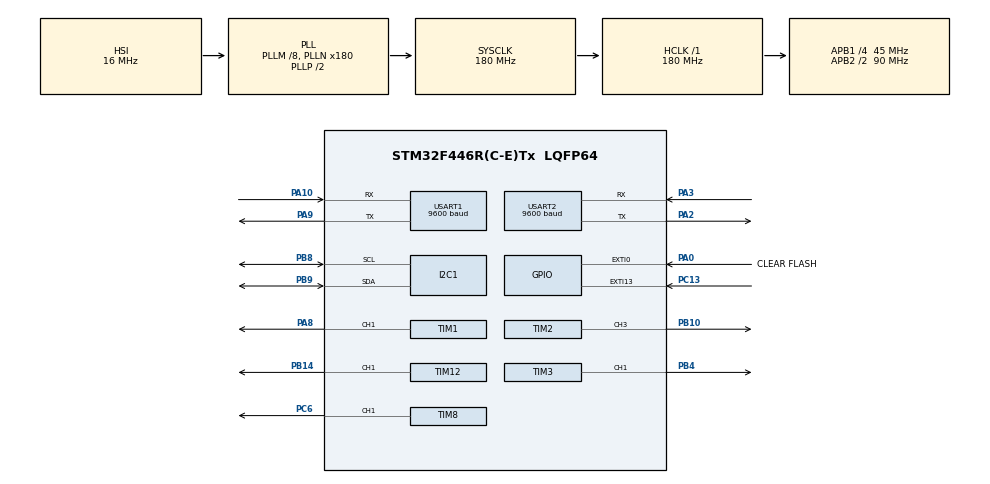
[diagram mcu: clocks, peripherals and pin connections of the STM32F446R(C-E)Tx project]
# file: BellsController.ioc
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Mcu.Family=STM32F4
Mcu.Name=STM32F446R(C-E)Tx
Mcu.Package=LQFP64
NVIC.EXTI0_IRQn=true\:0\:0\:false\:false\:true\:true\:true\:true
NVIC.EXTI15_10_IRQn=true\:1\:0\:true\:false\:true\:true\:true\:true
NVIC.PriorityGroup=NVIC_PRIORITYGROUP_4
NVIC.RTC_Alarm_IRQn=true\:0\:0\:false\:false\:true\:true\:true\:true
PA0-WKUP.GPIO_Label=CLEAR FLASH
PA0-WKUP.GPIO_ModeDefaultEXTI=GPIO_MODE_IT_RISING
PA0-WKUP.Signal=GPXTI0
PA10.Mode=Asynchronous
PA10.Signal=USART1_RX
PA2.Mode=Asynchronous
PA2.Signal=USART2_TX
PA3.Mode=Asynchronous
PA3.Signal=USART2_RX
PA8.Signal=S_TIM1_CH1
PA9.Mode=Asynchronous
PA9.Signal=USART1_TX
PB10.Signal=S_TIM2_CH3
PB14.Signal=S_TIM12_CH1
PB4.Signal=S_TIM3_CH1
PB8.Mode=I2C
PB8.Signal=I2C1_SCL
PB9.Mode=I2C
PB9.Signal=I2C1_SDA
PC13.GPIO_ModeDefaultEXTI=GPIO_MODE_IT_RISING
PC13.Signal=GPXTI13
PC6.Signal=S_TIM8_CH1
ProjectManager.HeapSize=0x200
ProjectManager.StackSize=0x400
ProjectManager.TargetToolchain=STM32CubeIDE
RCC.AHBFreq_Value=180000000
RCC.APB1CLKDivider=RCC_HCLK_DIV4
RCC.APB1Freq_Value=45000000
RCC.APB1TimFreq_Value=90000000
RCC.APB2CLKDivider=RCC_HCLK_DIV2
RCC.APB2Freq_Value=90000000
RCC.APB2TimFreq_Value=180000000
RCC.CortexFreq_Value=180000000
RCC.HCLKFreq_Value=180000000
RCC.PLLM=8
RCC.PLLN=180
RCC.SYSCLKFreq_VALUE=180000000
RCC.SYSCLKSource=RCC_SYSCLKSOURCE_PLLCLK
RCC.USBFreq_Value=180000000
RCC.VCOOutputFreq_Value=360000000
RTC.Alarm=RTC_ALARM_A
RTC.AlarmMaskDateWeekDay=RTC_ALARMMASK_DATEWEEKDAY
RTC.AlarmMaskHours=RTC_ALARMMASK_HOURS
RTC.AlarmMaskMinutes=RTC_ALARMMASK_MINUTES
RTC.Format=RTC_FORMAT_BIN
RTC.Year=1
SH.S_TIM12_CH1.0=TIM12_CH1,PWM Generation1 CH1
SH.S_TIM1_CH1.0=TIM1_CH1,PWM Generation1 CH1
SH.S_TIM2_CH3.0=TIM2_CH3,PWM Generation3 CH3
SH.S_TIM3_CH1.0=TIM3_CH1,PWM Generation1 CH1
SH.S_TIM8_CH1.0=TIM8_CH1,PWM Generation1 CH1
TIM1.Channel-PWM\ Generation1\ CH1=TIM_CHANNEL_1
TIM1.Period=3822-1
TIM1.Prescaler=180-1
TIM1.Pulse-PWM\ Generation1\ CH1=3822/2
TIM12.Channel-PWM\ Generation1\ CH1=TIM_CHANNEL_1
TIM12.Period=2551-1
TIM12.Prescaler=90-1
TIM12.Pulse-PWM\ Generation1\ CH1=2551/2
TIM2.Channel-PWM\ Generation3\ CH3=TIM_CHANNEL_3
TIM2.Period=3406-1
TIM2.Prescaler=90-1
TIM2.Pulse-PWM\ Generation3\ CH3=3406/2
TIM3.Channel-PWM\ Generation1\ CH1=TIM_CHANNEL_1
TIM3.Period=3030-1
TIM3.Prescaler=90-1
TIM3.Pulse-PWM\ Generation1\ CH1=3030/2
TIM8.Channel-PWM\ Generation1\ CH1=TIM_CHANNEL_1
TIM8.Period=2865-1
TIM8.Prescaler=180-1
TIM8.Pulse-PWM\ Generation1\ CH1=2865/2
USART1.BaudRate=9600
USART1.VirtualMode=VM_ASYNC
USART2.BaudRate=9600
USART2.VirtualMode=VM_ASYNC
VP_RTC_VS_RTC_Activate.Mode=RTC_Enabled
VP_RTC_VS_RTC_Alarm_A_Intern.Mode=Alarm A
VP_RTC_VS_RTC_Calendar.Mode=RTC_Calendar
VP_TIM12_VS_ClockSourceINT.Mode=Internal
VP_TIM1_VS_ClockSourceINT.Mode=Internal
VP_TIM2_VS_ClockSourceINT.Mode=Internal
VP_TIM3_VS_ClockSourceINT.Mode=Internal
VP_TIM8_VS_ClockSourceINT.Mode=Internal
board=custom

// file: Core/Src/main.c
/* USER CODE BEGIN Header */
/**
  ******************************************************************************
  * @file           : main.c
  * @brief          : Main program body
  ******************************************************************************
  * @attention
  *
  * Copyright (c) 2024 STMicroelectronics.
  * All rights reserved.
  *
  * This software is licensed under terms that can be found in the LICENSE file
  * in the root directory of this software component.
  * If no LICENSE file comes with this software, it is provided AS-IS.
  *
  ******************************************************************************
  */
/* USER CODE END Header */
#include "main.h"

/* USER CODE BEGIN Includes */
#include <stdio.h>
#include "string.h"
#include "cJSON.h"
#include <stdbool.h>
#include <stdlib.h>
#include "liquidcrystal_i2c.h"
#include "FLASH_SECTOR_F4.h"
#include <math.h>
/* USER CODE END Includes */

/* USER CODE BEGIN PD */
#define BUFFER_SIZE 1024
#define MAX_EVENTS 100
#define MAX_STRING_SIZE 100

// Defining note frequency //

// Concert in C (DO)
#define NOTE_C4  261.6
#define NOTE_D4  293.6
#define NOTE_E4  330
#define NOTE_F4  349
#define NOTE_G4  392

// Melody save addresses
#define MemoryStartAddress  0x08020000 	// 128 Kb sector
#define MelodySize 2048
#define MelodyLineSize 28 // 28 byte (28 indirizzi), 7 parole
#define NumberMelodiesMemoryAddress 0x08010000	// 64 Kb sector

// System Info addresses
#define SystemInfoAddress	0x08040000	// 16 Kb sector

// Time
#define StartYear 2000

/* USER CODE END PD */

I2C_HandleTypeDef hi2c1;

RTC_HandleTypeDef hrtc;

TIM_HandleTypeDef htim1;
TIM_HandleTypeDef htim2;
TIM_HandleTypeDef htim3;
TIM_HandleTypeDef htim8;
TIM_HandleTypeDef htim12;

UART_HandleTypeDef huart1;
UART_HandleTypeDef huart2;

/* USER CODE BEGIN PV */
char buf[BUFFER_SIZE];
char uart1_rx_buffer[257] = {'0'};
char uart1_rx_char;
int rx_index = 0;
RTC_TimeTypeDef CurrentTime = {0};
RTC_DateTypeDef CurrentDate = {0};

typedef struct {
    char melodyName[MAX_STRING_SIZE];
    int melodyNumber;
    char time[MAX_STRING_SIZE];
} Event;

Event events[MAX_EVENTS];
int eventCount = 0;

int eventsDone = 0;

bool buttonPressed = false;

/* USER CODE END PV */

void SystemClock_Config(void);
static void MX_GPIO_Init(void);
static void MX_USART2_UART_Init(void);
static void MX_USART1_UART_Init(void);
static void MX_RTC_Init(void);
static void MX_I2C1_Init(void);
static void MX_TIM1_Init(void);
static void MX_TIM2_Init(void);
static void MX_TIM3_Init(void);
static void MX_TIM8_Init(void);
static void MX_TIM12_Init(void);

int main(void)
{

  /* MCU Configuration--------------------------------------------------------*/

  /* Reset of all peripherals, Initializes the Flash interface and the Systick. */
  HAL_Init();

  /* USER CODE BEGIN Init */
  HAL_InitTick(0);
  /* USER CODE END Init */

  /* Configure the system clock */
  SystemClock_Config();

  /* Initialize all configured peripherals */
  MX_GPIO_Init();
  MX_USART2_UART_Init();
  MX_USART1_UART_Init();
  MX_RTC_Init();
  MX_I2C1_Init();
  MX_TIM1_Init();
  MX_TIM2_Init();
  MX_TIM3_Init();
  MX_TIM8_Init();
  MX_TIM12_Init();
  /* USER CODE BEGIN 2 */

  // EraseFlashSector(MemoryStartAddress);
  // EraseFlashSector(NumberMelodiesMemoryAddress);
  // EraseFlashSector(SystemInfoAddress);

  HD44780_Init(2);
  HD44780_Clear();
  HD44780_SetCursor(0,0);
  HD44780_PrintStr("Sync and start");
  HAL_Delay(5000);
  HD44780_Clear();
  HD44780_SetCursor(0,0);
  HD44780_PrintStr("Press button");
  HD44780_SetCursor(0,1);
  HD44780_PrintStr("to sync melodies");
  while (!buttonPressed) {
	  HAL_Delay(10); // Avoid too fast loop
  }
  //readAndRing(1);

  /* USER CODE END 2 */

  /* Infinite loop */
  /* USER CODE BEGIN WHILE */
  while (1)
  {
	  // Send "Hello world" message

	  // Delay for 1000 milliseconds (1 second)
	  // HAL_Delay(1000);

	  if (HAL_UART_Receive(&huart1, &uart1_rx_char, 1, 100) == HAL_OK){
	  	         uart1_rx_buffer[rx_index++] = uart1_rx_char;
	  	         if (uart1_rx_char == '\n' || rx_index >= sizeof(uart1_rx_buffer))
	  	         {
	  	        	uart1_rx_buffer[rx_index - 1] = '\0';
	  	        	send_uart_message(uart1_rx_buffer);
	  	        	if (strcmp(uart1_rx_buffer, "-E-\r") == 0) {
	  	        		memset(uart1_rx_buffer, 0, sizeof(uart1_rx_buffer));
	  	        		send_uart_message("Starting the event parsing");
	  	        		rx_index = 0;
	  	        	    parseEvents();
	  	        	}
	  	        	else if (strcmp(uart1_rx_buffer, "-M-\r") == 0){
	  	        		memset(uart1_rx_buffer, 0, sizeof(uart1_rx_buffer));
	  	        		rx_index = 0;
	  	        		send_uart_message("Starting the melodies parsing");
	  	        		__disable_irq();
	  	        		parseMelodies();
	  	        		send_uart_message("Returned to main");
	  	        		__enable_irq();
	  	        	}
	  	        	else if (strcmp((char *)uart1_rx_buffer, "-T-\r") == 0){
	  	        		memset(uart1_rx_buffer, 0, sizeof(uart1_rx_buffer));
	  	        		rx_index = 0;
	  	        		send_uart_message("Starting the time parsing");
	  	        		parseTime();
	  	        	}
	  	        	else if (strcmp((char *)uart1_rx_buffer, "-S-\r") == 0){
	  	        		memset(uart1_rx_buffer, 0, sizeof(uart1_rx_buffer));
	  	        		rx_index = 0;
	  	        		send_uart_message("Starting the system info parsing");
	  	        		parseSystem();
	  	        	}
	  	        	else {
	  	        		send_uart_message("What else?");
	  	        		memset(uart1_rx_buffer, 0, sizeof(uart1_rx_buffer));
	  	        		rx_index = 0;
	  	        	}
	  	         }
	  	     }
    /* USER CODE END WHILE */

  }
}

void SystemClock_Config(void)
{
  RCC_OscInitTypeDef RCC_OscInitStruct = {0};
  RCC_ClkInitTypeDef RCC_ClkInitStruct = {0};

  /** Configure the main internal regulator output voltage
  */
  __HAL_RCC_PWR_CLK_ENABLE();
  __HAL_PWR_VOLTAGESCALING_CONFIG(PWR_REGULATOR_VOLTAGE_SCALE1);

  /** Initializes the RCC Oscillators according to the specified parameters
  * in the RCC_OscInitTypeDef structure.
  */
  RCC_OscInitStruct.OscillatorType = RCC_OSCILLATORTYPE_HSI|RCC_OSCILLATORTYPE_LSI;
  RCC_OscInitStruct.LSEState = RCC_LSE_OFF;
  RCC_OscInitStruct.HSIState = RCC_HSI_ON;
  RCC_OscInitStruct.HSICalibrationValue = RCC_HSICALIBRATION_DEFAULT;
  RCC_OscInitStruct.LSIState = RCC_LSI_ON;
  RCC_OscInitStruct.PLL.PLLState = RCC_PLL_ON;
  RCC_OscInitStruct.PLL.PLLSource = RCC_PLLSOURCE_HSI;
  RCC_OscInitStruct.PLL.PLLM = 8;
  RCC_OscInitStruct.PLL.PLLN = 180;
  RCC_OscInitStruct.PLL.PLLP = RCC_PLLP_DIV2;
  RCC_OscInitStruct.PLL.PLLQ = 2;
  RCC_OscInitStruct.PLL.PLLR = 2;
  if (HAL_RCC_OscConfig(&RCC_OscInitStruct) != HAL_OK)
  {
    Error_Handler();
  }

  /** Activate the Over-Drive mode
  */
  if (HAL_PWREx_EnableOverDrive() != HAL_OK)
  {
    Error_Handler();
  }

  /** Initializes the CPU, AHB and APB buses clocks
  */
  RCC_ClkInitStruct.ClockType = RCC_CLOCKTYPE_HCLK|RCC_CLOCKTYPE_SYSCLK
                              |RCC_CLOCKTYPE_PCLK1|RCC_CLOCKTYPE_PCLK2;
  RCC_ClkInitStruct.SYSCLKSource = RCC_SYSCLKSOURCE_PLLCLK;
  RCC_ClkInitStruct.AHBCLKDivider = RCC_SYSCLK_DIV1;
  RCC_ClkInitStruct.APB1CLKDivider = RCC_HCLK_DIV4;
  RCC_ClkInitStruct.APB2CLKDivider = RCC_HCLK_DIV2;

  if (HAL_RCC_ClockConfig(&RCC_ClkInitStruct, FLASH_LATENCY_5) != HAL_OK)
  {
    Error_Handler();
  }
}

static void MX_I2C1_Init(void)
{

  hi2c1.Instance = I2C1;
  hi2c1.Init.ClockSpeed = 100000;
  hi2c1.Init.DutyCycle = I2C_DUTYCYCLE_2;
  hi2c1.Init.OwnAddress1 = 0;
  hi2c1.Init.AddressingMode = I2C_ADDRESSINGMODE_7BIT;
  hi2c1.Init.DualAddressMode = I2C_DUALADDRESS_DISABLE;
  hi2c1.Init.OwnAddress2 = 0;
  hi2c1.Init.GeneralCallMode = I2C_GENERALCALL_DISABLE;
  hi2c1.Init.NoStretchMode = I2C_NOSTRETCH_DISABLE;
  if (HAL_I2C_Init(&hi2c1) != HAL_OK)
  {
    Error_Handler();
  }

}

static void MX_RTC_Init(void)
{

  RTC_TimeTypeDef sTime = {0};
  RTC_DateTypeDef sDate = {0};
  RTC_AlarmTypeDef sAlarm = {0};

  /** Initialize RTC Only
  */
  hrtc.Instance = RTC;
  hrtc.Init.HourFormat = RTC_HOURFORMAT_24;
  hrtc.Init.AsynchPrediv = 127;
  hrtc.Init.SynchPrediv = 255;
  hrtc.Init.OutPut = RTC_OUTPUT_DISABLE;
  hrtc.Init.OutPutPolarity = RTC_OUTPUT_POLARITY_HIGH;
  hrtc.Init.OutPutType = RTC_OUTPUT_TYPE_OPENDRAIN;
  if (HAL_RTC_Init(&hrtc) != HAL_OK)
  {
    Error_Handler();
  }

  /** Initialize RTC and set the Time and Date
  */
  sTime.Hours = 0;
  sTime.Minutes = 0;
  sTime.Seconds = 0;
  sTime.DayLightSaving = RTC_DAYLIGHTSAVING_NONE;
  sTime.StoreOperation = RTC_STOREOPERATION_RESET;
  if (HAL_RTC_SetTime(&hrtc, &sTime, RTC_FORMAT_BIN) != HAL_OK)
  {
    Error_Handler();
  }
  sDate.WeekDay = RTC_WEEKDAY_MONDAY;
  sDate.Month = RTC_MONTH_JANUARY;
  sDate.Date = 1;
  sDate.Year = 1;

  if (HAL_RTC_SetDate(&hrtc, &sDate, RTC_FORMAT_BIN) != HAL_OK)
  {
    Error_Handler();
  }

  /** Enable the Alarm A
  */
  sAlarm.AlarmTime.Hours = 0;
  sAlarm.AlarmTime.Minutes = 0;
  sAlarm.AlarmTime.Seconds = 0;
  sAlarm.AlarmTime.SubSeconds = 0;
  sAlarm.AlarmTime.DayLightSaving = RTC_DAYLIGHTSAVING_NONE;
  sAlarm.AlarmTime.StoreOperation = RTC_STOREOPERATION_RESET;
  sAlarm.AlarmMask = RTC_ALARMMASK_DATEWEEKDAY|RTC_ALARMMASK_HOURS
                              |RTC_ALARMMASK_MINUTES;
  sAlarm.AlarmSubSecondMask = RTC_ALARMSUBSECONDMASK_ALL;
  sAlarm.AlarmDateWeekDaySel = RTC_ALARMDATEWEEKDAYSEL_DATE;
  sAlarm.AlarmDateWeekDay = 1;
  sAlarm.Alarm = RTC_ALARM_A;
  if (HAL_RTC_SetAlarm_IT(&hrtc, &sAlarm, RTC_FORMAT_BIN) != HAL_OK)
  {
    Error_Handler();
  }
  /* USER CODE BEGIN RTC_Init 2 */
  HAL_NVIC_SetPriority(RTC_Alarm_IRQn,1,0);
  /* USER CODE END RTC_Init 2 */

}

static void MX_TIM1_Init(void)
{

  TIM_ClockConfigTypeDef sClockSourceConfig = {0};
  TIM_MasterConfigTypeDef sMasterConfig = {0};
  TIM_OC_InitTypeDef sConfigOC = {0};
  TIM_BreakDeadTimeConfigTypeDef sBreakDeadTimeConfig = {0};

  htim1.Instance = TIM1;
  htim1.Init.Prescaler = 180-1;
  htim1.Init.CounterMode = TIM_COUNTERMODE_UP;
  htim1.Init.Period = 3822-1;
  htim1.Init.ClockDivision = TIM_CLOCKDIVISION_DIV1;
  htim1.Init.RepetitionCounter = 0;
  htim1.Init.AutoReloadPreload = TIM_AUTORELOAD_PRELOAD_DISABLE;
  if (HAL_TIM_Base_Init(&htim1) != HAL_OK)
  {
    Error_Handler();
  }
  sClockSourceConfig.ClockSource = TIM_CLOCKSOURCE_INTERNAL;
  if (HAL_TIM_ConfigClockSource(&htim1, &sClockSourceConfig) != HAL_OK)
  {
    Error_Handler();
  }
  if (HAL_TIM_PWM_Init(&htim1) != HAL_OK)
  {
    Error_Handler();
  }
  sMasterConfig.MasterOutputTrigger = TIM_TRGO_RESET;
  sMasterConfig.MasterSlaveMode = TIM_MASTERSLAVEMODE_DISABLE;
  if (HAL_TIMEx_MasterConfigSynchronization(&htim1, &sMasterConfig) != HAL_OK)
  {
    Error_Handler();
  }
  sConfigOC.OCMode = TIM_OCMODE_PWM1;
  sConfigOC.Pulse = 3822/2;
  sConfigOC.OCPolarity = TIM_OCPOLARITY_HIGH;
  sConfigOC.OCNPolarity = TIM_OCNPOLARITY_HIGH;
  sConfigOC.OCFastMode = TIM_OCFAST_DISABLE;
  sConfigOC.OCIdleState = TIM_OCIDLESTATE_RESET;
  sConfigOC.OCNIdleState = TIM_OCNIDLESTATE_RESET;
  if (HAL_TIM_PWM_ConfigChannel(&htim1, &sConfigOC, TIM_CHANNEL_1) != HAL_OK)
  {
    Error_Handler();
  }
  sBreakDeadTimeConfig.OffStateRunMode = TIM_OSSR_DISABLE;
  sBreakDeadTimeConfig.OffStateIDLEMode = TIM_OSSI_DISABLE;
  sBreakDeadTimeConfig.LockLevel = TIM_LOCKLEVEL_OFF;
  sBreakDeadTimeConfig.DeadTime = 0;
  sBreakDeadTimeConfig.BreakState = TIM_BREAK_DISABLE;
  sBreakDeadTimeConfig.BreakPolarity = TIM_BREAKPOLARITY_HIGH;
  sBreakDeadTimeConfig.AutomaticOutput = TIM_AUTOMATICOUTPUT_DISABLE;
  if (HAL_TIMEx_ConfigBreakDeadTime(&htim1, &sBreakDeadTimeConfig) != HAL_OK)
  {
    Error_Handler();
  }
  HAL_TIM_MspPostInit(&htim1);

}

static void MX_TIM2_Init(void)
{

  TIM_ClockConfigTypeDef sClockSourceConfig = {0};
  TIM_MasterConfigTypeDef sMasterConfig = {0};
  TIM_OC_InitTypeDef sConfigOC = {0};

  htim2.Instance = TIM2;
  htim2.Init.Prescaler = 90-1;
  htim2.Init.CounterMode = TIM_COUNTERMODE_UP;
  htim2.Init.Period = 3406-1;
  htim2.Init.ClockDivision = TIM_CLOCKDIVISION_DIV1;
  htim2.Init.AutoReloadPreload = TIM_AUTORELOAD_PRELOAD_DISABLE;
  if (HAL_TIM_Base_Init(&htim2) != HAL_OK)
  {
    Error_Handler();
  }
  sClockSourceConfig.ClockSource = TIM_CLOCKSOURCE_INTERNAL;
  if (HAL_TIM_ConfigClockSource(&htim2, &sClockSourceConfig) != HAL_OK)
  {
    Error_Handler();
  }
  if (HAL_TIM_PWM_Init(&htim2) != HAL_OK)
  {
    Error_Handler();
  }
  sMasterConfig.MasterOutputTrigger = TIM_TRGO_RESET;
  sMasterConfig.MasterSlaveMode = TIM_MASTERSLAVEMODE_DISABLE;
  if (HAL_TIMEx_MasterConfigSynchronization(&htim2, &sMasterConfig) != HAL_OK)
  {
    Error_Handler();
  }
  sConfigOC.OCMode = TIM_OCMODE_PWM1;
  sConfigOC.Pulse = 3406/2;
  sConfigOC.OCPolarity = TIM_OCPOLARITY_HIGH;
  sConfigOC.OCFastMode = TIM_OCFAST_DISABLE;
  if (HAL_TIM_PWM_ConfigChannel(&htim2, &sConfigOC, TIM_CHANNEL_3) != HAL_OK)
  {
    Error_Handler();
  }
  HAL_TIM_MspPostInit(&htim2);

}

static void MX_TIM3_Init(void)
{

  TIM_ClockConfigTypeDef sClockSourceConfig = {0};
  TIM_MasterConfigTypeDef sMasterConfig = {0};
  TIM_OC_InitTypeDef sConfigOC = {0};

  htim3.Instance = TIM3;
  htim3.Init.Prescaler = 90-1;
  htim3.Init.CounterMode = TIM_COUNTERMODE_UP;
  htim3.Init.Period = 3030-1;
  htim3.Init.ClockDivision = TIM_CLOCKDIVISION_DIV1;
  htim3.Init.AutoReloadPreload = TIM_AUTORELOAD_PRELOAD_DISABLE;
  if (HAL_TIM_Base_Init(&htim3) != HAL_OK)
  {
    Error_Handler();
  }
  sClockSourceConfig.ClockSource = TIM_CLOCKSOURCE_INTERNAL;
  if (HAL_TIM_ConfigClockSource(&htim3, &sClockSourceConfig) != HAL_OK)
  {
    Error_Handler();
  }
  if (HAL_TIM_PWM_Init(&htim3) != HAL_OK)
  {
    Error_Handler();
  }
  sMasterConfig.MasterOutputTrigger = TIM_TRGO_RESET;
  sMasterConfig.MasterSlaveMode = TIM_MASTERSLAVEMODE_DISABLE;
  if (HAL_TIMEx_MasterConfigSynchronization(&htim3, &sMasterConfig) != HAL_OK)
  {
    Error_Handler();
  }
  sConfigOC.OCMode = TIM_OCMODE_PWM1;
  sConfigOC.Pulse = 3030/2;
  sConfigOC.OCPolarity = TIM_OCPOLARITY_HIGH;
  sConfigOC.OCFastMode = TIM_OCFAST_DISABLE;
  if (HAL_TIM_PWM_ConfigChannel(&htim3, &sConfigOC, TIM_CHANNEL_1) != HAL_OK)
  {
    Error_Handler();
  }
  HAL_TIM_MspPostInit(&htim3);

}

static void MX_TIM8_Init(void)
{

  TIM_ClockConfigTypeDef sClockSourceConfig = {0};
  TIM_MasterConfigTypeDef sMasterConfig = {0};
  TIM_OC_InitTypeDef sConfigOC = {0};
  TIM_BreakDeadTimeConfigTypeDef sBreakDeadTimeConfig = {0};

  htim8.Instance = TIM8;
  htim8.Init.Prescaler = 180-1;
  htim8.Init.CounterMode = TIM_COUNTERMODE_UP;
  htim8.Init.Period = 2865-1;
  htim8.Init.ClockDivision = TIM_CLOCKDIVISION_DIV1;
  htim8.Init.RepetitionCounter = 0;
  htim8.Init.AutoReloadPreload = TIM_AUTORELOAD_PRELOAD_DISABLE;
  if (HAL_TIM_Base_Init(&htim8) != HAL_OK)
  {
    Error_Handler();
  }
  sClockSourceConfig.ClockSource = TIM_CLOCKSOURCE_INTERNAL;
  if (HAL_TIM_ConfigClockSource(&htim8, &sClockSourceConfig) != HAL_OK)
  {
    Error_Handler();
  }
  if (HAL_TIM_PWM_Init(&htim8) != HAL_OK)
  {
    Error_Handler();
  }
  sMasterConfig.MasterOutputTrigger = TIM_TRGO_RESET;
  sMasterConfig.MasterSlaveMode = TIM_MASTERSLAVEMODE_DISABLE;
  if (HAL_TIMEx_MasterConfigSynchronization(&htim8, &sMasterConfig) != HAL_OK)
  {
    Error_Handler();
  }
  sConfigOC.OCMode = TIM_OCMODE_PWM1;
  sConfigOC.Pulse = 2865/2;
  sConfigOC.OCPolarity = TIM_OCPOLARITY_HIGH;
  sConfigOC.OCNPolarity = TIM_OCNPOLARITY_HIGH;
  sConfigOC.OCFastMode = TIM_OCFAST_DISABLE;
  sConfigOC.OCIdleState = TIM_OCIDLESTATE_RESET;
  sConfigOC.OCNIdleState = TIM_OCNIDLESTATE_RESET;
  if (HAL_TIM_PWM_ConfigChannel(&htim8, &sConfigOC, TIM_CHANNEL_1) != HAL_OK)
  {
    Error_Handler();
  }
  sBreakDeadTimeConfig.OffStateRunMode = TIM_OSSR_DISABLE;
  sBreakDeadTimeConfig.OffStateIDLEMode = TIM_OSSI_DISABLE;
  sBreakDeadTimeConfig.LockLevel = TIM_LOCKLEVEL_OFF;
  sBreakDeadTimeConfig.DeadTime = 0;
  sBreakDeadTimeConfig.BreakState = TIM_BREAK_DISABLE;
  sBreakDeadTimeConfig.BreakPolarity = TIM_BREAKPOLARITY_HIGH;
  sBreakDeadTimeConfig.AutomaticOutput = TIM_AUTOMATICOUTPUT_DISABLE;
  if (HAL_TIMEx_ConfigBreakDeadTime(&htim8, &sBreakDeadTimeConfig) != HAL_OK)
  {
    Error_Handler();
  }
  HAL_TIM_MspPostInit(&htim8);

}

static void MX_TIM12_Init(void)
{

  TIM_ClockConfigTypeDef sClockSourceConfig = {0};
  TIM_OC_InitTypeDef sConfigOC = {0};

  htim12.Instance = TIM12;
  htim12.Init.Prescaler = 90-1;
  htim12.Init.CounterMode = TIM_COUNTERMODE_UP;
  htim12.Init.Period = 2551-1;
  htim12.Init.ClockDivision = TIM_CLOCKDIVISION_DIV1;
  htim12.Init.AutoReloadPreload = TIM_AUTORELOAD_PRELOAD_DISABLE;
  if (HAL_TIM_Base_Init(&htim12) != HAL_OK)
  {
    Error_Handler();
  }
  sClockSourceConfig.ClockSource = TIM_CLOCKSOURCE_INTERNAL;
  if (HAL_TIM_ConfigClockSource(&htim12, &sClockSourceConfig) != HAL_OK)
  {
    Error_Handler();
  }
  if (HAL_TIM_PWM_Init(&htim12) != HAL_OK)
  {
    Error_Handler();
  }
  sConfigOC.OCMode = TIM_OCMODE_PWM1;
  sConfigOC.Pulse = 2551/2;
  sConfigOC.OCPolarity = TIM_OCPOLARITY_HIGH;
  sConfigOC.OCFastMode = TIM_OCFAST_DISABLE;
  if (HAL_TIM_PWM_ConfigChannel(&htim12, &sConfigOC, TIM_CHANNEL_1) != HAL_OK)
  {
    Error_Handler();
  }
  HAL_TIM_MspPostInit(&htim12);

}

static void MX_USART1_UART_Init(void)
{

  huart1.Instance = USART1;
  huart1.Init.BaudRate = 9600;
  huart1.Init.WordLength = UART_WORDLENGTH_8B;
  huart1.Init.StopBits = UART_STOPBITS_1;
  huart1.Init.Parity = UART_PARITY_NONE;
  huart1.Init.Mode = UART_MODE_TX_RX;
  huart1.Init.HwFlowCtl = UART_HWCONTROL_NONE;
  huart1.Init.OverSampling = UART_OVERSAMPLING_16;
  if (HAL_UART_Init(&huart1) != HAL_OK)
  {
    Error_Handler();
  }

}

static void MX_USART2_UART_Init(void)
{

  huart2.Instance = USART2;
  huart2.Init.BaudRate = 9600;
  huart2.Init.WordLength = UART_WORDLENGTH_8B;
  huart2.Init.StopBits = UART_STOPBITS_1;
  huart2.Init.Parity = UART_PARITY_NONE;
  huart2.Init.Mode = UART_MODE_TX_RX;
  huart2.Init.HwFlowCtl = UART_HWCONTROL_NONE;
  huart2.Init.OverSampling = UART_OVERSAMPLING_16;
  if (HAL_UART_Init(&huart2) != HAL_OK)
  {
    Error_Handler();
  }

}

static void MX_GPIO_Init(void)
{
  GPIO_InitTypeDef GPIO_InitStruct = {0};

  /* GPIO Ports Clock Enable */
  __HAL_RCC_GPIOC_CLK_ENABLE();
  __HAL_RCC_GPIOA_CLK_ENABLE();
  __HAL_RCC_GPIOB_CLK_ENABLE();

  /*Configure GPIO pin : PC13 */
  GPIO_InitStruct.Pin = GPIO_PIN_13;
  GPIO_InitStruct.Mode = GPIO_MODE_IT_RISING;
  GPIO_InitStruct.Pull = GPIO_NOPULL;
  HAL_GPIO_Init(GPIOC, &GPIO_InitStruct);

  /*Configure GPIO pin : CLEAR_FLASH_Pin */
  GPIO_InitStruct.Pin = CLEAR_FLASH_Pin;
  GPIO_InitStruct.Mode = GPIO_MODE_IT_RISING;
  GPIO_InitStruct.Pull = GPIO_NOPULL;
  HAL_GPIO_Init(CLEAR_FLASH_GPIO_Port, &GPIO_InitStruct);

  /* EXTI interrupt init*/
  HAL_NVIC_SetPriority(EXTI0_IRQn, 1, 0);
  HAL_NVIC_EnableIRQ(EXTI0_IRQn);

  HAL_NVIC_SetPriority(EXTI15_10_IRQn, 1, 0);
  HAL_NVIC_EnableIRQ(EXTI15_10_IRQn);

}

/* USER CODE BEGIN 4 */

void send_uart_message(char *message) {
	sprintf((char *)buf,"%s\r\n",message);
    HAL_UART_Transmit(&huart2, (uint8_t *)buf, strlen(buf), HAL_MAX_DELAY);
}

/**
 * @brief Parse and save the event in the array
 * @param message, pointer to the string parsed as a json
 */
void process_json_events(const char *event) {
	const cJSON *documents = NULL;
	const cJSON *document = NULL;
	const cJSON *fields = NULL;
	const cJSON *field = NULL;

    cJSON *event_json = cJSON_Parse(event);
    if (event_json == NULL)
    {
        const char *error_ptr = cJSON_GetErrorPtr();
        if (error_ptr != NULL)
        {
            fprintf(stderr, "Error before: %s\n", error_ptr);
        }
        goto end;
    }

    eventsDone = 0;
    eventCount = 0;

    //char *string = cJSON_Print(event_json);
    //send_uart_message(string);

    documents = cJSON_GetObjectItemCaseSensitive(event_json, "documents");
        cJSON_ArrayForEach(document, documents)
        {
            fields = cJSON_GetObjectItemCaseSensitive(document, "fields");

            char melodyNameString[MAX_STRING_SIZE] = {0};
			int melodyNumberInt = 0;
			char timeString[MAX_STRING_SIZE] = {0};

            // Melody name
            cJSON *melodyName = cJSON_GetObjectItemCaseSensitive(fields, "melodyName");
			cJSON *melodyNameValue = cJSON_GetObjectItemCaseSensitive(melodyName, "stringValue");
			if (cJSON_IsString(melodyNameValue) && melodyNameValue->valuestring != NULL)
			{
				strncpy(melodyNameString, melodyNameValue->valuestring, MAX_STRING_SIZE - 1);
			}
			else {
				send_uart_message("Error when parsing melodyName");
				goto end;
			}

            send_uart_message("Melody name: ");
            send_uart_message(melodyNameString);
            send_uart_message("\n");

			// Melody number
			cJSON *melodyNumber = cJSON_GetObjectItemCaseSensitive(fields, "melodyNumber");
			cJSON *melodyNumberValue = cJSON_GetObjectItemCaseSensitive(melodyNumber, "integerValue");

			if (cJSON_IsString(melodyNumberValue) && melodyNumberValue->valuestring != NULL)
			{
			    melodyNumberInt = atoi( melodyNumberValue->valuestring);
			} else {
				send_uart_message("Error when parsing melodyNumber");
				goto end;
			}

            send_uart_message("Melody number: ");
            sprintf(buf,"%d",melodyNumberInt);
            send_uart_message(buf);
            send_uart_message("\n");

			// Time
            cJSON *time = cJSON_GetObjectItemCaseSensitive(fields, "time");
            cJSON *timeValue = cJSON_GetObjectItemCaseSensitive(time, "timestampValue");

            if (cJSON_IsString(timeValue) && timeValue->valuestring != NULL)
            {
            	strncpy(timeString, timeValue->valuestring, MAX_STRING_SIZE - 1);
            }else {
				send_uart_message("Error when parsing time");
				goto end;
			}

            send_uart_message("Time: ");
            send_uart_message(timeString);
            send_uart_message("\n");

            // Create an event and add it to the array
			if (eventCount < MAX_EVENTS)
			{
				strncpy(events[eventCount].melodyName, melodyNameString, MAX_STRING_SIZE - 1);
				events[eventCount].melodyNumber = melodyNumberInt;
				strncpy(events[eventCount].time, timeString, MAX_STRING_SIZE - 1);
				eventCount++;
			}
        }

    end:
        cJSON_Delete(event_json);
        return;
}

void parseEvents(){
	bool received;
    size_t jsonBufferSize = 1024;
    char *jsonEvents = (char *)malloc(jsonBufferSize);
    if (jsonEvents == NULL) {
        // Handle memory allocation failure
        return;
    }
    jsonEvents[0] = '\0'; // Initialize the buffer with an empty string

    while(!received) {
        if (HAL_UART_Receive(&huart1, &uart1_rx_char, 1, 100) == HAL_OK) {
            uart1_rx_buffer[rx_index++] = uart1_rx_char;
            if (uart1_rx_char == '\n' || rx_index >= sizeof(uart1_rx_buffer)) {
                uart1_rx_buffer[rx_index - 1] = '\0';
                if (strcmp((char *)uart1_rx_buffer, "---\r") == 0) {
                    received = true;
                    memset(uart1_rx_buffer, 0, sizeof(uart1_rx_buffer));
                    //strcat(jsonEvents,"}");
                    send_uart_message("events parsing ended!");
                    rx_index = 0;
                    break;
                } else {
                    //uart1_rx_buffer[rx_index - 2] = '\0'; // Removing \r
                    size_t newLength = strlen(jsonEvents) + strlen((char *)uart1_rx_buffer) + 1;
                    if (newLength > jsonBufferSize) {
                        jsonBufferSize = newLength * 2; // Increase buffer size
                        char *newJsonEvents = (char *)realloc(jsonEvents, jsonBufferSize);
                        if (newJsonEvents == NULL) {
                            // Handle memory allocation failure
                            free(jsonEvents);
                            return;
                        }
                        jsonEvents = newJsonEvents;
                    }
                    strcat(jsonEvents, uart1_rx_buffer);
                    memset(uart1_rx_buffer, 0, sizeof(uart1_rx_buffer));
                    rx_index = 0;
                }
            }
        }
    }
	process_json_events(jsonEvents);
}

void parseMelodies(){

	rx_index = 0;
	uint32_t error = 0;
	float melodiesNum = 0;

	melodiesNum = Flash_Read_NUM(NumberMelodiesMemoryAddress);

	if (isnan(melodiesNum) || melodiesNum > 63 || melodiesNum < 0) {
		melodiesNum = 0;
	}

	// Calcola l'indirizzo di salvataggio della melodia
	uint32_t melodySavingAddress = MemoryStartAddress + (melodiesNum * MelodySize);

	melodiesNum++;

	error = Flash_Write_NUM(NumberMelodiesMemoryAddress,melodiesNum,true);

	uint32_t write_data[MelodyLineSize/4] = {0};
	uint32_t line = 0;
	bool received = false;

	// Loop per ricezione dati via UART
	while (!received) {
		if (HAL_UART_Receive(&huart1, &uart1_rx_char, 1, 100) == HAL_OK) {
			uart1_rx_buffer[rx_index++] = uart1_rx_char;
			if (uart1_rx_char == '\n' || rx_index >= sizeof(uart1_rx_buffer)) {
				uart1_rx_buffer[rx_index - 1] = '\0';
				if (strcmp((char *)uart1_rx_buffer, "---\r") == 0) {
					received = true;
					memset(uart1_rx_buffer, 0, sizeof(uart1_rx_buffer));
					send_uart_message("melody parsing ended!");
					rx_index = 0;
					line = 0;
				} else {
					// Conversione di uart1_rx_buffer a write_data
					for (int i = 0; i < (rx_index + sizeof(uint32_t) - 1) / sizeof(uint32_t); i++) {
						write_data[i] = ((uint32_t*)uart1_rx_buffer)[i];
					}
					// Scrittura dei dati nella memoria Flash
					int numofwords = (strlen(write_data)/4)+((strlen(write_data)%4)!=0);
					Flash_Write_Data((melodySavingAddress + (line * MelodyLineSize)), write_data,numofwords,false);

					// Pulizia del buffer e reset dell'indice
					memset(uart1_rx_buffer, 0, sizeof(uart1_rx_buffer));
					rx_index = 0;
					line++;
				}
			}
		}
	}
}

void readAndRing(int melodyNum){
	bool tooLong = false;
	uint32_t melodyStartingAddress = MemoryStartAddress + (melodyNum-1)* MelodySize;
	uint32_t ReadBuffer[MelodyLineSize/4];
	int line = 0;
	int note = 0;
	int duration = 0;
	uint32_t melodyLineAddress = melodyStartingAddress + line * MelodyLineSize;

	char ReadedString[MelodyLineSize];

	Flash_Read_Data(melodyStartingAddress,ReadBuffer,(MelodyLineSize-1)/4);

	Convert_To_Str(ReadBuffer,ReadedString);

	size_t length = strlen(ReadedString);
	for (size_t i = 0; i < length; ++i) {
	        if (ReadedString[i] == '\r') {
	            ReadedString[i] = '\0';
	            break;
	        }
	    }

	if ((unsigned char)ReadedString[0] != 0xFF){
		ReadedString[strlen(ReadedString)] = '\0';
		if (strlen(ReadedString)>16){
			tooLong = true;
		}
		HD44780_Clear();
		sprintf(buf,"Reproducing:");
		HD44780_SetCursor(0,0);
		HD44780_PrintStr(buf);
		HD44780_SetCursor(0,1);
		HD44780_PrintStr(ReadedString);

		sprintf((char *)buf,"-N-\n%s\n---\n%",ReadedString);
		HAL_UART_Transmit(&huart1, (uint8_t *)buf, strlen(buf), HAL_MAX_DELAY);

		line++;
		while(true){
			melodyLineAddress = melodyStartingAddress + line * MelodyLineSize;
			Flash_Read_Data(melodyLineAddress,ReadBuffer,MelodyLineSize/4);
			Convert_To_Str(ReadBuffer,ReadedString);
			if ((unsigned char)ReadedString[0] == 0xFF) break;
			note = atoi(ReadedString);
			duration = atof(ReadedString + 2) * 1000 - 500;
			if (tooLong){
				HD44780_ScrollDisplayLeft();
			}
			if (duration <= 0) {
				duration = 1;
			}
			play(note,duration);

			line++;
		}

		send_uart_message("Melody Playing finished");
	}
	else send_uart_message("Melody not found!");
}

void play(int note, int duration){
	char buf[20];
	sprintf(buf, "Playing: %d", note);
	send_uart_message(buf);

	sprintf(buf, "Duration: %.2f", duration); // Limita a 2 cifre decimali per la durata
	send_uart_message(buf);

	switch (note) {
	case 1 :
		Do();
		break;
	case 2 :
		Re();
		break;
	case 3 :
		Mi();
		break;
	case 4 :
		Fa();
		break;
	case 5 :
		Sol();
		break;
	default: break;
	}

	// Introduce un ritardo basato sulla durata in secondi convertita in millisecondi
	HAL_Delay((uint32_t)(duration));
}

void parseTime(){

	char jsonTime[128] = {0};

	while (true) {
			if (HAL_UART_Receive(&huart1, &uart1_rx_char, 1, 100) == HAL_OK) {
				uart1_rx_buffer[rx_index++] = uart1_rx_char;
				if (uart1_rx_char == '\n' || rx_index >= sizeof(uart1_rx_buffer)) {
					uart1_rx_buffer[rx_index - 1] = '\0';
					if (strcmp((char *)uart1_rx_buffer, "---\r") == 0) {
						memset(uart1_rx_buffer, 0, sizeof(uart1_rx_buffer));
						send_uart_message("Time parsing ended!");
						rx_index = 0;
						break;
					}
					else {
						uart1_rx_buffer[rx_index - 2] = '\0';
						if (rx_index > 128) return;
						else {
						strcpy(jsonTime,uart1_rx_buffer);
						memset(uart1_rx_buffer, 0, sizeof(uart1_rx_buffer));
						rx_index = 0;
						process_json_time(jsonTime);
						}
					}
				}

			}
	}
}

void parseSystem() {
	// EraseFlashSector(SystemInfoAddress);
	uint32_t rx_index = 0;
	uint32_t line = 0;
	uint32_t write_data[MelodyLineSize/4] = {0};
	bool received = false;
	while (!received) {
			if (HAL_UART_Receive(&huart1, &uart1_rx_char, 1, 100) == HAL_OK) {
				uart1_rx_buffer[rx_index++] = uart1_rx_char;
				if (uart1_rx_char == '\n' || rx_index >= sizeof(uart1_rx_buffer)) {
					uart1_rx_buffer[rx_index - 1] = '\0';
					if (strcmp((char *)uart1_rx_buffer, "---\r") == 0) {
						received = true;
						memset(uart1_rx_buffer, 0, sizeof(uart1_rx_buffer));
						send_uart_message("System info received!");
						rx_index = 0;
						line = 0;
					} else {
						// Conversione di uart1_rx_buffer a write_data
						for (int i = 0; i < (rx_index + sizeof(uint32_t) - 1) / sizeof(uint32_t); i++) {
							write_data[i] = ((uint32_t*)uart1_rx_buffer)[i];
						}
						// Scrittura dei dati nella memoria Flash
						int numofwords = (strlen(write_data)/4)+((strlen(write_data)%4)!=0);
						Flash_Write_Data((SystemInfoAddress + (line * MelodyLineSize)), write_data,numofwords,false);

						// Pulizia del buffer e reset dell'indice
						memset(uart1_rx_buffer, 0, sizeof(uart1_rx_buffer));
						rx_index = 0;
						line++;
					}
				}
			}
		}
}

void readAndDisplaySystemInfo() {
	uint32_t ReadBuffer[MelodyLineSize/4];

	send_uart_message("Display system info");

	char systemId[MelodyLineSize] = {0};
	char pin[MelodyLineSize] = {0};

	Flash_Read_Data(SystemInfoAddress,ReadBuffer,(MelodyLineSize-1)/4);

	Convert_To_Str(ReadBuffer,systemId);

	Flash_Read_Data(SystemInfoAddress + MelodyLineSize,ReadBuffer,(MelodyLineSize-1)/4);

	Convert_To_Str(ReadBuffer, pin);

	size_t length = strlen(systemId);
	for (size_t i = 0; i < length; ++i) {
		if (systemId[i] == '\r') {
			systemId[i] = '\0';
			break;
		}
	}
	length = strlen(pin);
	for (size_t i = 0; i < length; ++i) {
		if (pin[i] == '\r') {
			pin[i] = '\0';
			break;
		}
	}

	if ((unsigned char)systemId[0] != 0xFF
			&& (unsigned char)pin[0] != 0xFF){
			HD44780_Clear();
			sprintf(buf,"ID: %s", systemId);
			HD44780_SetCursor(0,0);
			HD44780_PrintStr(buf);
			sprintf(buf,"PIN: %s", pin);
			HD44780_SetCursor(0,1);
			HD44780_PrintStr(buf);
			for (int i=0; i<50; i++) {
				HD44780_ScrollDisplayLeft();
				HAL_Delay(1000);
			}
	}
}

void process_json_time(const char* time){

	cJSON *time_json = cJSON_Parse(time);
	if (time_json == NULL)
	{
		const char *error_ptr = cJSON_GetErrorPtr();
		if (error_ptr != NULL)
		{
			fprintf(stderr, "Error before: %s\n", error_ptr);
		}
		goto end;
	}

	cJSON *seconds = cJSON_GetObjectItemCaseSensitive(time_json, "s");
	double seconds_num = 0;
	cJSON *minutes = cJSON_GetObjectItemCaseSensitive(time_json, "mi");
	double minutes_num = 0;
	cJSON *hour = cJSON_GetObjectItemCaseSensitive(time_json, "h");
	double hour_num = 0;
	cJSON *monthDay = cJSON_GetObjectItemCaseSensitive(time_json, "md");
	double monthDay_num = 0;
	cJSON *yearMonth = cJSON_GetObjectItemCaseSensitive(time_json, "mo");
	double yearMonth_num = 0;
	cJSON *year = cJSON_GetObjectItemCaseSensitive(time_json, "y");
	double year_num = 0;
	cJSON *weekDay = cJSON_GetObjectItemCaseSensitive(time_json, "wd");
	double weekDay_num = 0;
	cJSON *legalHour = cJSON_GetObjectItemCaseSensitive(time_json, "l");
	double legalHour_num = 0;

	seconds_num  = cJSON_GetNumberValue(seconds);
	minutes_num  = cJSON_GetNumberValue(minutes);
	hour_num  = cJSON_GetNumberValue(hour);
	monthDay_num  = cJSON_GetNumberValue(monthDay);
	yearMonth_num  = cJSON_GetNumberValue(yearMonth);
	year_num  = cJSON_GetNumberValue(year);
	weekDay_num = cJSON_GetNumberValue(weekDay);
	legalHour_num  = cJSON_GetNumberValue(legalHour);

	if (seconds_num == NAN || minutes_num == NAN || hour_num == NAN || monthDay_num == NAN
			||yearMonth_num == NAN || year_num == NAN || legalHour_num == NAN || weekDay_num == NAN)
	{
		goto end;
	}
	else{
		if (weekDay = 0) weekDay = 7;
		CurrentTime.Hours = (uint8_t) hour_num;
		CurrentTime.Minutes = (uint8_t) minutes_num;
		CurrentTime.Seconds = (uint8_t) seconds_num;
		CurrentTime.DayLightSaving = RTC_DAYLIGHTSAVING_NONE;
		CurrentTime.StoreOperation = RTC_STOREOPERATION_RESET;
		if (HAL_RTC_SetTime(&hrtc, &CurrentTime, RTC_FORMAT_BIN) != HAL_OK)
		{
			send_uart_message("Error parsing time 1");
			Error_Handler();
		}
		CurrentDate.WeekDay = (uint8_t)weekDay_num;
		CurrentDate.Month = (uint8_t)yearMonth_num+1;
		CurrentDate.Date = (uint8_t)monthDay_num;
		CurrentDate.Year = (uint8_t)year_num%100;

		if (HAL_RTC_SetDate(&hrtc, &CurrentDate, RTC_FORMAT_BIN) != HAL_OK)
		{
			send_uart_message("Error parsing time 2");
			Error_Handler();
		}
		char timeBuff[20];
		sprintf(timeBuff, "%04d-%02d-%02dT%02d:%02d:00Z\0",
					(uint8_t)year_num%100 + StartYear,
					(uint8_t)yearMonth_num+1,
					(uint8_t)monthDay_num,
					(uint8_t)hour_num,
					(uint8_t)minutes_num);

		send_uart_message(timeBuff);

		if (eventCount >= eventsDone){
				send_uart_message(events[eventsDone].time);
				int result = strcmp(timeBuff,events[eventsDone].time);
				if (result == 0){
					readAndRing(events[eventsDone].melodyNumber);
					eventsDone++;
				}
				else if (result > 0) {
					eventsDone++;
				}
			}
		HD44780_Clear();

		sprintf(buf,"Date: %02d.%02d.%02d",(uint8_t)monthDay_num,(uint8_t)yearMonth_num+1,(uint8_t)year_num%100 + StartYear);
		HD44780_SetCursor(0,0);
		HD44780_PrintStr(buf);

		sprintf(buf,"Time: %02d.%02d",(uint8_t)hour_num+2,(uint8_t)minutes_num);
		HD44780_SetCursor(0,1);
		HD44780_PrintStr(buf);

	}

	end:
	      cJSON_Delete(time_json);
	      return;
}

void clearFlashMemory() {
	HD44780_Clear();
	sprintf(buf,"Clearing flash");
	HD44780_SetCursor(0,0);
	HD44780_PrintStr(buf);
	sprintf(buf,"sectors");
	HD44780_SetCursor(0,1);
	HD44780_PrintStr(buf);
	EraseFlashSector(MemoryStartAddress);
	EraseFlashSector(NumberMelodiesMemoryAddress);
	EraseFlashSector(SystemInfoAddress);
	HAL_Delay(3000);
}

// Funzione per convertire data e ora RTC in stringa ISO 8601
void RTC_to_ISO8601(RTC_DateTypeDef *date, RTC_TimeTypeDef *time, char *buffer) {
    sprintf(buffer, "%04d-%02d-%02dT%02d:%02d:%02dZ\0",
             date->Year + StartYear, // Anno completo
             date->Month,
             date->Date,
             time->Hours,
             time->Minutes,
             time->Seconds);
}

void HAL_RTC_AlarmAEventCallback(RTC_HandleTypeDef *hrtcAlarm){
	HAL_RTC_GetTime(&hrtc, &CurrentTime, RTC_FORMAT_BIN);
	HAL_RTC_GetDate(&hrtc, &CurrentDate, RTC_FORMAT_BIN);

	RTC_to_ISO8601(&CurrentDate,&CurrentTime,buf);
	if (eventCount >= eventsDone){
		int result = strcmp(buf,events[eventsDone].time);
		if (result == 0){
			readAndRing(events[eventsDone].melodyNumber);
			eventsDone++;
		}
		else if (result > 0) {
			eventsDone++;
		}
	}

	HD44780_Clear();

	sprintf(buf,"Date: %02d.%02d.%02d",CurrentDate.Date,CurrentDate.Month,CurrentDate.Year);
	HD44780_SetCursor(0,0);
	HD44780_PrintStr(buf);

	sprintf(buf,"Time: %02d.%02d",CurrentTime.Hours+2,CurrentTime.Minutes,CurrentTime.Seconds);
	HD44780_SetCursor(0,1);
	HD44780_PrintStr(buf);
}

void HAL_GPIO_EXTI_Callback(uint16_t GPIO_Pin){
    if (GPIO_Pin == GPIO_PIN_13) {
        readAndDisplaySystemInfo();
    }
    else if (GPIO_Pin == CLEAR_FLASH_Pin) {
    	send_uart_message("Button clicked");
    	buttonPressed = true;
    	clearFlashMemory();
    }
    else {
        __NOP();
    }
}

// Notes

void Do() {
    HAL_TIM_PWM_Start(&htim1, TIM_CHANNEL_1);
    HAL_UART_Transmit(&huart2, (uint8_t *)"DO Started\n", strlen("DO Started\n"), HAL_MAX_DELAY);
    HAL_Delay(500);
    HAL_TIM_PWM_Stop(&htim1, TIM_CHANNEL_1);
    HAL_UART_Transmit(&huart2, (uint8_t *)"DO Stopped\n", strlen("DO Stopped\n"), HAL_MAX_DELAY);
}

void Re() {
    HAL_TIM_PWM_Start(&htim2, TIM_CHANNEL_3);
    HAL_UART_Transmit(&huart2, (uint8_t *)"RE Started\n", strlen("RE Started\n"), HAL_MAX_DELAY);
    HAL_Delay(500);
    HAL_TIM_PWM_Stop(&htim2, TIM_CHANNEL_3);
    HAL_UART_Transmit(&huart2, (uint8_t *)"RE Stopped\n", strlen("RE Stopped\n"), HAL_MAX_DELAY);
}

void Mi() {
    HAL_TIM_PWM_Start(&htim3, TIM_CHANNEL_1);
    HAL_UART_Transmit(&huart2, (uint8_t *)"MI Started\n", strlen("MI Started\n"), HAL_MAX_DELAY);
    HAL_Delay(500);
    HAL_TIM_PWM_Stop(&htim3, TIM_CHANNEL_1);
    HAL_UART_Transmit(&huart2, (uint8_t *)"MI Stopped\n", strlen("M Stopped\n"), HAL_MAX_DELAY);
}

void Fa() {
    HAL_TIM_PWM_Start(&htim8, TIM_CHANNEL_1);
    HAL_UART_Transmit(&huart2, (uint8_t *)"FA Started\n", strlen("FA Started\n"), HAL_MAX_DELAY);
    HAL_Delay(500);
    HAL_TIM_PWM_Stop(&htim8, TIM_CHANNEL_1);
    HAL_UART_Transmit(&huart2, (uint8_t *)"FA Stopped\n", strlen("FA Stopped\n"), HAL_MAX_DELAY);
}

void Sol() {
    HAL_TIM_PWM_Start(&htim12, TIM_CHANNEL_1);
    HAL_UART_Transmit(&huart2, (uint8_t *)"SOL Started\n", strlen("SOL Started\n"), HAL_MAX_DELAY);
    HAL_Delay(500);
    HAL_TIM_PWM_Stop(&htim12, TIM_CHANNEL_1);
    HAL_UART_Transmit(&huart2, (uint8_t *)"SOL Stopped\n", strlen("SOL Stopped\n"), HAL_MAX_DELAY);
}

/* USER CODE END 4 */

void Error_Handler(void)
{
  __disable_irq();
  while (1)
  {
  }
}
